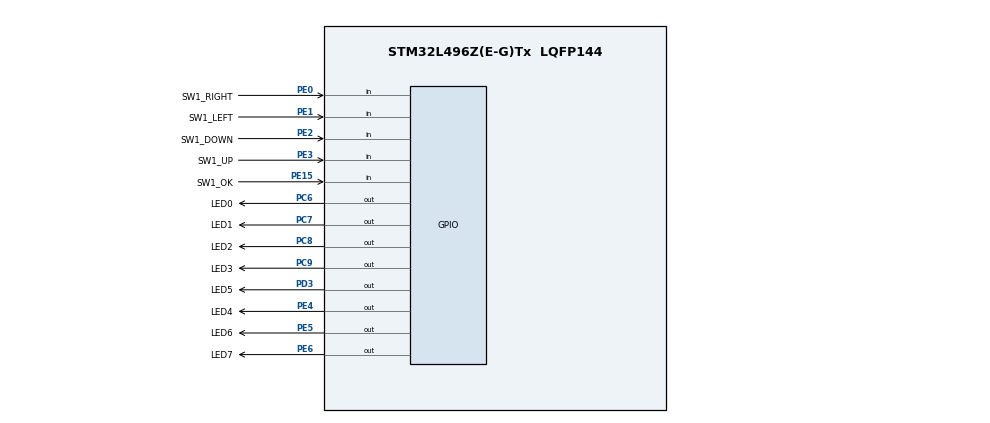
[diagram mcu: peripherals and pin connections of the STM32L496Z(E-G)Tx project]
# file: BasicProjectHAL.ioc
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Mcu.Family=STM32L4
Mcu.Name=STM32L496Z(E-G)Tx
Mcu.Package=LQFP144
NVIC.PriorityGroup=NVIC_PRIORITYGROUP_4
PC6.GPIO_Label=LED0
PC6.Signal=GPIO_Output
PC7.GPIO_Label=LED1
PC7.Signal=GPIO_Output
PC8.GPIO_Label=LED2
PC8.Signal=GPIO_Output
PC9.GPIO_Label=LED3
PC9.Signal=GPIO_Output
PD3.GPIO_Label=LED5
PD3.Signal=GPIO_Output
PE0.GPIO_Label=SW1_RIGHT
PE0.Signal=GPIO_Input
PE1.GPIO_Label=SW1_LEFT
PE1.Signal=GPIO_Input
PE15.GPIO_Label=SW1_OK
PE15.Signal=GPIO_Input
PE2.GPIO_Label=SW1_DOWN
PE2.Signal=GPIO_Input
PE3.GPIO_Label=SW1_UP
PE3.Signal=GPIO_Input
PE4.GPIO_Label=LED4
PE4.Signal=GPIO_Output
PE5.GPIO_Label=LED6
PE5.Signal=GPIO_Output
PE6.GPIO_Label=LED7
PE6.Signal=GPIO_Output
ProjectManager.HeapSize=0x200
ProjectManager.StackSize=0x400
ProjectManager.TargetToolchain=STM32CubeIDE
RCC.HSE_VALUE=8000000
RCC.HSI48_VALUE=48000000
RCC.HSI_VALUE=16000000
RCC.LSE_VALUE=32768
RCC.MSI_VALUE=4000000
RCC.VCOOutputFreq_Value=32000000
board=custom

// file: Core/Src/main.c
/* USER CODE BEGIN Header */
/**
  ******************************************************************************
  * @file           : main.c
  * @brief          : Main program body
  ******************************************************************************
  * @attention
  *
  * Copyright (c) 2022 STMicroelectronics.
  * All rights reserved.
  *
  * This software is licensed under terms that can be found in the LICENSE file
  * in the root directory of this software component.
  * If no LICENSE file comes with this software, it is provided AS-IS.
  *
  ******************************************************************************
  */
/* USER CODE END Header */
#include "main.h"

void SystemClock_Config(void);
static void MX_GPIO_Init(void);

int main(void)
{

  /* MCU Configuration--------------------------------------------------------*/

  /* Reset of all peripherals, Initializes the Flash interface and the Systick. */
  HAL_Init();

  /* Configure the system clock */
  SystemClock_Config();

  /* Initialize all configured peripherals */
  MX_GPIO_Init();

  /* Infinite loop */
  /* USER CODE BEGIN WHILE */
  while (1){

	  if (HAL_GPIO_ReadPin(SW1_RIGHT_GPIO_Port, SW1_RIGHT_Pin) == GPIO_PIN_RESET) // jesli odczytany stan przycisku jest niski
		      HAL_GPIO_WritePin(GPIOC, GPIO_PIN_6, GPIO_PIN_SET);              // to ustaw diode LEDx w stan wysoki
		  else
		      HAL_GPIO_WritePin(LED0_GPIO_Port, LED0_Pin, GPIO_PIN_RESET);    // jesli nie to ustaw diode LEDx w stan niski

		  if (HAL_GPIO_ReadPin(SW1_LEFT_GPIO_Port, SW1_LEFT_Pin) == GPIO_PIN_RESET)
		      HAL_GPIO_WritePin(GPIOE, GPIO_PIN_6, GPIO_PIN_SET);
		  else
			  HAL_GPIO_WritePin(LED0_GPIO_Port, LED7_Pin, GPIO_PIN_RESET);

		  if (HAL_GPIO_ReadPin(SW1_UP_GPIO_Port, SW1_UP_Pin) == GPIO_PIN_RESET)
		  {
		      HAL_GPIO_WritePin(GPIOC, GPIO_PIN_9, GPIO_PIN_SET);
		      HAL_GPIO_WritePin(GPIOE, GPIO_PIN_4, GPIO_PIN_SET);
		  }
		  else
		  {
		      HAL_GPIO_WritePin(LED3_GPIO_Port, LED3_Pin, GPIO_PIN_RESET);
		      HAL_GPIO_WritePin(LED4_GPIO_Port, LED4_Pin, GPIO_PIN_RESET);
		  }

		  if (HAL_GPIO_ReadPin(SW1_DOWN_GPIO_Port, SW1_DOWN_Pin) == GPIO_PIN_RESET)
		  {
		      HAL_GPIO_WritePin(GPIOC, GPIO_PIN_7, GPIO_PIN_SET);
		      HAL_GPIO_WritePin(GPIOE, GPIO_PIN_5, GPIO_PIN_SET);
		  }
		  else
		  {
		      HAL_GPIO_WritePin(LED1_GPIO_Port, LED1_Pin, GPIO_PIN_RESET);
		      HAL_GPIO_WritePin(LED6_GPIO_Port, LED6_Pin, GPIO_PIN_RESET);
		  }

		  if (HAL_GPIO_ReadPin(SW1_OK_GPIO_Port, SW1_OK_Pin) == GPIO_PIN_RESET)
		  {
		      HAL_GPIO_WritePin(GPIOC, GPIO_PIN_6, GPIO_PIN_SET);
		      HAL_GPIO_WritePin(GPIOC, GPIO_PIN_7, GPIO_PIN_SET);
		      HAL_GPIO_WritePin(GPIOC, GPIO_PIN_8, GPIO_PIN_SET);
		      HAL_GPIO_WritePin(GPIOC, GPIO_PIN_9, GPIO_PIN_SET);
		      HAL_GPIO_WritePin(GPIOE, GPIO_PIN_4, GPIO_PIN_SET);
		      HAL_GPIO_WritePin(GPIOD, GPIO_PIN_3, GPIO_PIN_SET);
		      HAL_GPIO_WritePin(GPIOE, GPIO_PIN_5, GPIO_PIN_SET);
		      HAL_GPIO_WritePin(GPIOE, GPIO_PIN_6, GPIO_PIN_SET);
		  }
		  else
		  {
		      HAL_GPIO_WritePin(LED0_GPIO_Port, LED0_Pin, GPIO_PIN_RESET);
		      HAL_GPIO_WritePin(LED1_GPIO_Port, LED1_Pin, GPIO_PIN_RESET);
		      HAL_GPIO_WritePin(LED2_GPIO_Port, LED2_Pin, GPIO_PIN_RESET);
		      HAL_GPIO_WritePin(LED3_GPIO_Port, LED3_Pin, GPIO_PIN_RESET);
		      HAL_GPIO_WritePin(LED4_GPIO_Port, LED4_Pin, GPIO_PIN_RESET);
		      HAL_GPIO_WritePin(LED5_GPIO_Port, LED5_Pin, GPIO_PIN_RESET);
		      HAL_GPIO_WritePin(LED6_GPIO_Port, LED6_Pin, GPIO_PIN_RESET);
		      HAL_GPIO_WritePin(LED7_GPIO_Port, LED7_Pin, GPIO_PIN_RESET);
		  }

    /* USER CODE END WHILE */

  }
}

void SystemClock_Config(void)
{
  RCC_OscInitTypeDef RCC_OscInitStruct = {0};
  RCC_ClkInitTypeDef RCC_ClkInitStruct = {0};

  /** Configure the main internal regulator output voltage
  */
  if (HAL_PWREx_ControlVoltageScaling(PWR_REGULATOR_VOLTAGE_SCALE1) != HAL_OK)
  {
    Error_Handler();
  }
  /** Initializes the RCC Oscillators according to the specified parameters
  * in the RCC_OscInitTypeDef structure.
  */
  RCC_OscInitStruct.OscillatorType = RCC_OSCILLATORTYPE_MSI;
  RCC_OscInitStruct.MSIState = RCC_MSI_ON;
  RCC_OscInitStruct.MSICalibrationValue = 0;
  RCC_OscInitStruct.MSIClockRange = RCC_MSIRANGE_6;
  RCC_OscInitStruct.PLL.PLLState = RCC_PLL_NONE;
  if (HAL_RCC_OscConfig(&RCC_OscInitStruct) != HAL_OK)
  {
    Error_Handler();
  }
  /** Initializes the CPU, AHB and APB buses clocks
  */
  RCC_ClkInitStruct.ClockType = RCC_CLOCKTYPE_HCLK|RCC_CLOCKTYPE_SYSCLK
                              |RCC_CLOCKTYPE_PCLK1|RCC_CLOCKTYPE_PCLK2;
  RCC_ClkInitStruct.SYSCLKSource = RCC_SYSCLKSOURCE_MSI;
  RCC_ClkInitStruct.AHBCLKDivider = RCC_SYSCLK_DIV1;
  RCC_ClkInitStruct.APB1CLKDivider = RCC_HCLK_DIV1;
  RCC_ClkInitStruct.APB2CLKDivider = RCC_HCLK_DIV1;

  if (HAL_RCC_ClockConfig(&RCC_ClkInitStruct, FLASH_LATENCY_0) != HAL_OK)
  {
    Error_Handler();
  }
}

static void MX_GPIO_Init(void)
{
  GPIO_InitTypeDef GPIO_InitStruct = {0};

  /* GPIO Ports Clock Enable */
  __HAL_RCC_GPIOE_CLK_ENABLE();
  __HAL_RCC_GPIOC_CLK_ENABLE();
  __HAL_RCC_GPIOD_CLK_ENABLE();

  /*Configure GPIO pin Output Level */
  HAL_GPIO_WritePin(GPIOE, LED4_Pin|LED6_Pin|LED7_Pin, GPIO_PIN_RESET);

  /*Configure GPIO pin Output Level */
  HAL_GPIO_WritePin(GPIOC, LED0_Pin|LED1_Pin|LED2_Pin|LED3_Pin, GPIO_PIN_RESET);

  /*Configure GPIO pin Output Level */
  HAL_GPIO_WritePin(LED5_GPIO_Port, LED5_Pin, GPIO_PIN_RESET);

  /*Configure GPIO pins : SW1_DOWN_Pin SW1_UP_Pin SW1_OK_Pin SW1_RIGHT_Pin
                           SW1_LEFT_Pin */
  GPIO_InitStruct.Pin = SW1_DOWN_Pin|SW1_UP_Pin|SW1_OK_Pin|SW1_RIGHT_Pin
                          |SW1_LEFT_Pin;
  GPIO_InitStruct.Mode = GPIO_MODE_INPUT;
  GPIO_InitStruct.Pull = GPIO_NOPULL;
  HAL_GPIO_Init(GPIOE, &GPIO_InitStruct);

  /*Configure GPIO pins : LED4_Pin LED6_Pin LED7_Pin */
  GPIO_InitStruct.Pin = LED4_Pin|LED6_Pin|LED7_Pin;
  GPIO_InitStruct.Mode = GPIO_MODE_OUTPUT_PP;
  GPIO_InitStruct.Pull = GPIO_NOPULL;
  GPIO_InitStruct.Speed = GPIO_SPEED_FREQ_LOW;
  HAL_GPIO_Init(GPIOE, &GPIO_InitStruct);

  /*Configure GPIO pins : LED0_Pin LED1_Pin LED2_Pin LED3_Pin */
  GPIO_InitStruct.Pin = LED0_Pin|LED1_Pin|LED2_Pin|LED3_Pin;
  GPIO_InitStruct.Mode = GPIO_MODE_OUTPUT_PP;
  GPIO_InitStruct.Pull = GPIO_NOPULL;
  GPIO_InitStruct.Speed = GPIO_SPEED_FREQ_LOW;
  HAL_GPIO_Init(GPIOC, &GPIO_InitStruct);

  /*Configure GPIO pin : LED5_Pin */
  GPIO_InitStruct.Pin = LED5_Pin;
  GPIO_InitStruct.Mode = GPIO_MODE_OUTPUT_PP;
  GPIO_InitStruct.Pull = GPIO_NOPULL;
  GPIO_InitStruct.Speed = GPIO_SPEED_FREQ_LOW;
  HAL_GPIO_Init(LED5_GPIO_Port, &GPIO_InitStruct);

}

void Error_Handler(void)
{
  __disable_irq();
  while (1)
  {
  }
}
